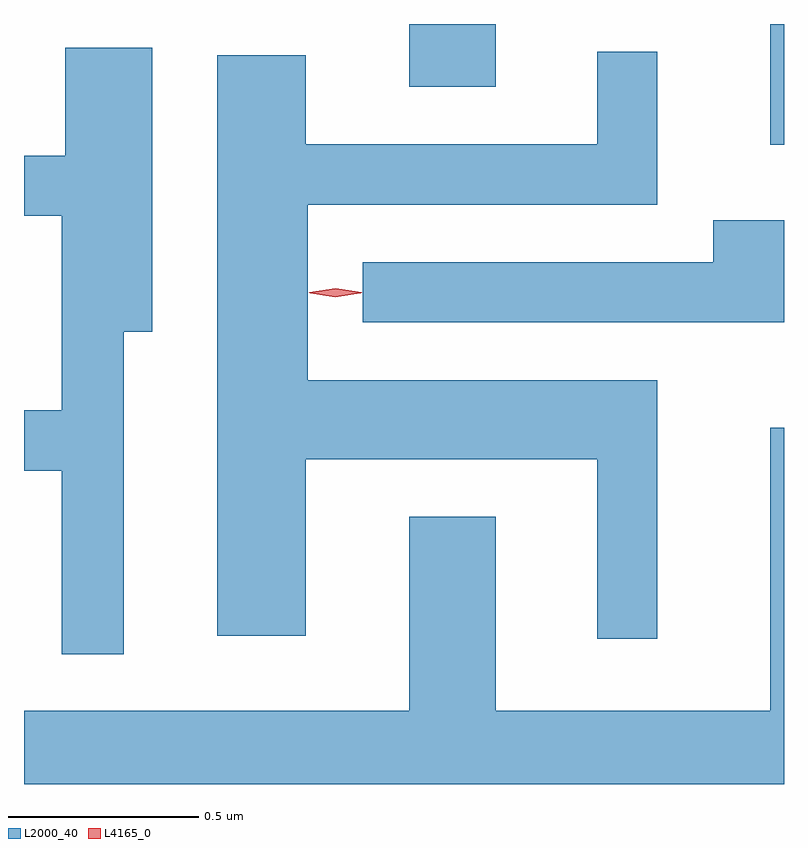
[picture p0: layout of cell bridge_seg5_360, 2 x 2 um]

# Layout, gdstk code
import gdstk
lib = gdstk.Library(unit=1e-6, precision=1e-09)
def R(c, l, rs):  # rectangles x0, y0, x1, y1
    for r in rs: c.add(gdstk.rectangle(r[:2], r[2:], *l))
def P(c, l, *ps):  # polygons
    for p in ps: c.add(gdstk.Polygon(p, *l))
L2000_40 = (2000, 40)
L4165_0 = (4165, 0)

bridge_seg5_360 = lib.new_cell('bridge_seg5_360')
R(bridge_seg5_360, L2000_40, [(670.371,1449.673,670.407,1449.991), (669.421,1449.826,669.649,1449.991)])
P(bridge_seg5_360, L2000_40, [(668.669,1449.181),(668.744,1449.181),(668.744,1449.929),(668.516,1449.929),(668.516,1449.644),(668.407,1449.644),(668.407,1449.486),(668.506,1449.486),(668.506,1448.974),(668.407,1448.974),(668.407,1448.816),(668.506,1448.816),(668.506,1448.333),(668.669,1448.333)],
  [(670.074,1449.054),(669.154,1449.054),(669.154,1449.516),(670.074,1449.516),(670.074,1449.918),(669.916,1449.918),(669.916,1449.674),(669.149,1449.674),(669.149,1449.909),(668.916,1449.909),(668.916,1448.381),(669.149,1448.381),(669.149,1448.846),(669.916,1448.846),(669.916,1448.373),(670.074,1448.373)],
  [(670.407,1449.474),(670.221,1449.474),(670.221,1449.364),(669.298,1449.364),(669.298,1449.206),(670.407,1449.206)],
  [(670.407,1448.928),(670.371,1448.928),(670.371,1448.184),(669.649,1448.184),(669.649,1448.694),(669.421,1448.694),(669.421,1448.184),(668.407,1448.184),(668.407,1447.991),(670.407,1447.991)])
P(bridge_seg5_360, L4165_0, [(669.227,1449.275),(669.158,1449.284),(669.157,1449.285),(669.158,1449.285),(669.227,1449.295),(669.296,1449.285),(669.296,1449.285),(669.296,1449.284)],
  [(669.226,1449.272),(669.16,1449.282),(669.16,1449.282),(669.16,1449.283),(669.226,1449.292),(669.292,1449.283),(669.293,1449.282),(669.292,1449.282)])

lib.write_gds('bridge_seg5_360.gds')
